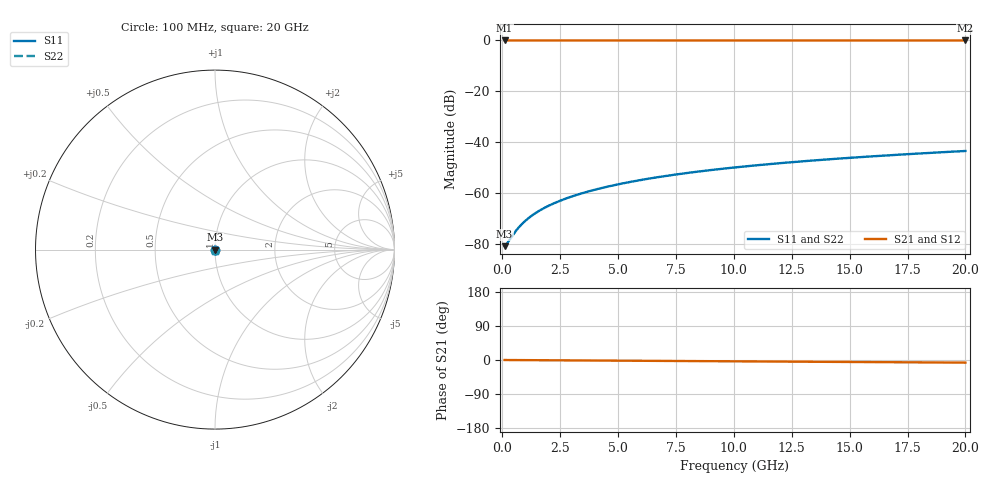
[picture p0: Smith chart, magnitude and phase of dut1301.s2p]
! Touchstone file exported from HFSS 2026.1.0
!  File:  C:/ffzhzh/LocalFiles/Ansys_Project_Files/temp_train_TSV_1301_1783194729_55132.aedt
!  Generated:  03:53:30 AM Jul  5, 2026
!  Design:  TSV
!  Project:  temp_train_TSV_1301_1783194729_55132
! Variables:
!  h_bsmrdl = 2um
!  h_ox = 20um
!  h_rdl = 5um
!  h_sub = 67.92um
!  h_tmrdl = 5um
!  h_tsv = 67.92um
!  h_via = 3um
!  l_bsmrdl = 300um
!  l_sub = 423.72um
!  l_tmrdl = 200um
!  m_sub = 200um
!  pitch = 44.83um
!  r_tsv = 11.86um
!  s_tmrdl = 10um
!  w_bsmrdl = 18um
!  w_sub = 500um
!  w_tmrdl = 12um
!  x_tsv_center1 = 206um
!  x_tsv_center2 = 524um
!  x_tsv_center3 = 736um
!  x_tsv_center4 = 1054um
!  x_tsv_center5 = 1266um
!  x_tsv_center6 = 1584um
# GHz S MA R 50.000000
! Terminal data exported
! Port[1] = TSV1_1_T1
! Port[2] = TSV1_1_T2
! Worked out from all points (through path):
!   200 points, 100 MHz to 20 GHz, reference 50 ohm
!   highest |S21| = 0.00 dB at 100 MHz (marker M1); lowest = 0.0 dB at 20 GHz (marker M2)
!   lowest |S11| = -81.0 dB at 100 MHz (marker M3), VSWR 1.00, Z = 50 + j0.000399 ohm
!   |S11| at or under -10 dB: start of sweep to end of sweep
!   |S22| runs from -81.0 to -43.5 dB; largest |S21 - S12| = 2.1e-15
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0.1  8.896e-05 2.6  0.9999 -0.0  0.9999 -0.0  8.896e-05 2.6
! Gamma 0 0 0 0
! Port Impedance 50 0 50 0
0.2  9.998e-05 3.0  0.9999 -0.1  0.9999 -0.1  9.998e-05 3.0
0.5  0.0001576 -7.8  0.9998 -0.2  0.9998 -0.2  0.0001576 -7.8
0.6  0.0001809 -12.9  0.9998 -0.2  0.9998 -0.2  0.0001809 -12.9
0.7  0.0002052 -17.8  0.9998 -0.3  0.9998 -0.3  0.0002052 -17.8
0.9  0.0002559 -26.8  0.9998 -0.3  0.9998 -0.3  0.0002559 -26.8
1.2  0.000335 -37.4  0.9997 -0.4  0.9997 -0.4  0.000335 -37.4
1.5  0.0004164 -45.2  0.9997 -0.5  0.9997 -0.5  0.0004164 -45.2
1.9  0.0005276 -52.4  0.9997 -0.7  0.9997 -0.7  0.0005276 -52.4
2.4  0.0006701 -58.5  0.9996 -0.8  0.9996 -0.8  0.0006701 -58.5
2.9  0.0008165 -62.7  0.9996 -1.0  0.9996 -1.0  0.0008164 -62.7
3.5  0.0009969 -66.2  0.9996 -1.2  0.9996 -1.2  0.0009968 -66.2
4.2  0.001213 -69.1  0.9995 -1.5  0.9995 -1.5  0.001213 -69.1
5  0.001468 -71.6  0.9995 -1.7  0.9995 -1.7  0.001468 -71.6
5.9  0.001761 -73.8  0.9994 -2.1  0.9994 -2.1  0.001761 -73.8
6.8  0.002059 -75.6  0.9994 -2.4  0.9994 -2.4  0.002059 -75.6
8.3  0.002565 -78.0  0.9993 -2.9  0.9993 -2.9  0.002565 -78.0
10.1  0.00318 -80.4  0.9993 -3.5  0.9993 -3.5  0.00318 -80.4
11.7  0.003732 -82.1  0.9992 -4.1  0.9992 -4.1  0.003732 -82.1
13.4  0.004322 -83.6  0.9992 -4.7  0.9992 -4.7  0.004322 -83.6
16.7  0.005482 -86.1  0.9991 -5.8  0.9991 -5.8  0.005481 -86.1
20  0.006662 -88.1  0.999 -6.9  0.999 -6.9  0.006662 -88.1
